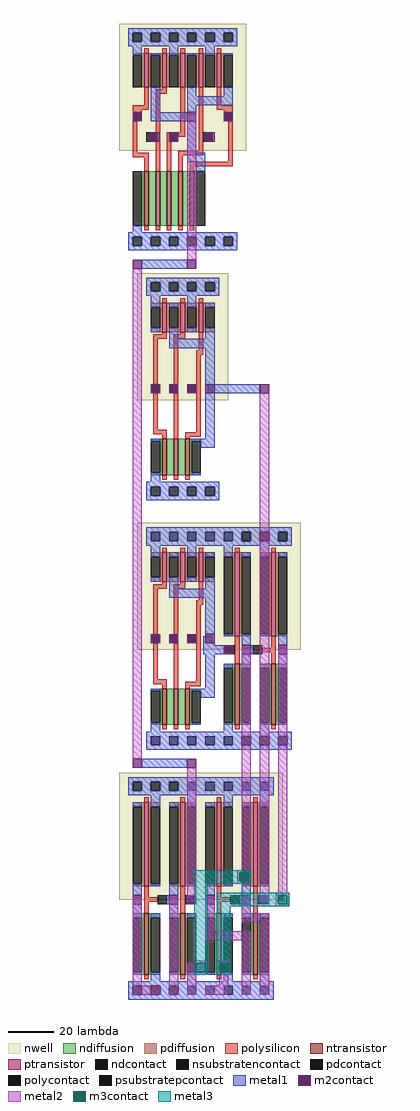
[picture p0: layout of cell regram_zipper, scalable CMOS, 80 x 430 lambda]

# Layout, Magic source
magic
tech scmos
<< metal1 >>
rect 4 318 24 322
rect 33 263 56 267
rect 6 196 46 204
rect 31 152 35 156
rect 31 148 44 152
rect 6 106 46 114
rect 4 98 24 102
rect 22 86 62 94
rect 22 -4 62 4
<< m2contact >>
rect 0 318 4 322
rect 24 318 28 322
rect 56 263 60 267
rect 0 98 4 102
rect 24 98 28 102
<< metal2 >>
rect 24 322 28 386
rect 0 102 4 318
rect 0 2 4 41
rect 0 -2 12 2
rect 16 -2 20 41
rect 24 39 28 98
rect 48 53 52 151
rect 46 52 52 53
rect 46 48 47 52
rect 51 48 52 52
rect 46 47 52 48
rect 32 26 36 41
rect 48 34 52 41
rect 56 39 60 263
rect 64 43 68 151
rect 63 42 69 43
rect 63 38 64 42
rect 68 38 69 42
rect 63 37 69 38
rect 48 30 60 34
rect 32 22 52 26
rect 27 12 33 13
rect 24 8 28 12
rect 32 8 33 12
rect 24 7 33 8
rect 37 12 43 13
rect 37 8 38 12
rect 42 8 43 12
rect 37 7 43 8
rect 24 -2 28 7
rect 38 2 42 7
rect 32 -2 42 2
rect 48 -2 52 22
rect 56 -2 60 30
<< m3contact >>
rect 47 48 51 52
rect 64 38 68 42
rect 28 8 32 12
rect 38 8 42 12
<< metal3 >>
rect 27 52 52 53
rect 27 48 47 52
rect 51 48 52 52
rect 27 47 52 48
rect 27 12 33 47
rect 27 8 28 12
rect 32 8 33 12
rect 27 7 33 8
rect 37 42 69 43
rect 37 38 64 42
rect 68 38 69 42
rect 37 37 69 38
rect 37 12 43 37
rect 37 8 38 12
rect 42 8 43 12
rect 37 7 43 8
use nand5_1x  nand5_1x_0
transform 1 0 0 0 1 330
box -6 -4 50 96
use nand3_1x  nand3_1x_0
transform 1 0 8 0 1 220
box -6 -4 34 96
use nand3_1x  nand3_1x_1
transform 1 0 8 0 1 110
box -6 -4 34 96
use invbuf_4x  invbuf_4x_0
transform 1 0 40 0 1 110
box -6 -4 34 96
use invbuf_4x  invbuf_4x_1
transform -1 0 28 0 1 0
box -6 -4 34 96
use invbuf_4x  invbuf_4x_2
transform -1 0 60 0 1 0
box -6 -4 34 96
<< end >>

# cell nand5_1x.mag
magic
tech scmos
<< nwell >>
rect -6 40 50 96
<< ntransistor >>
rect 5 7 7 31
rect 10 7 12 31
rect 15 7 17 31
rect 20 7 22 31
rect 25 7 27 31
<< ptransistor >>
rect 5 68 7 83
rect 13 68 15 83
rect 21 68 23 83
rect 29 68 31 83
rect 37 68 39 83
<< ndiffusion >>
rect 4 7 5 31
rect 7 7 10 31
rect 12 7 15 31
rect 17 7 20 31
rect 22 7 25 31
rect 27 7 28 31
<< pdiffusion >>
rect 0 82 5 83
rect 4 68 5 82
rect 7 82 13 83
rect 7 68 8 82
rect 12 68 13 82
rect 15 82 21 83
rect 15 68 16 82
rect 20 68 21 82
rect 23 82 29 83
rect 23 68 24 82
rect 28 68 29 82
rect 31 82 37 83
rect 31 68 32 82
rect 36 68 37 82
rect 39 82 44 83
rect 39 68 40 82
<< ndcontact >>
rect 0 7 4 31
rect 28 7 32 31
<< pdcontact >>
rect 0 68 4 82
rect 8 68 12 82
rect 16 68 20 82
rect 24 68 28 82
rect 32 68 36 82
rect 40 68 44 82
<< psubstratepcontact >>
rect 0 -2 4 2
rect 8 -2 12 2
rect 16 -2 20 2
rect 24 -2 28 2
rect 32 -2 36 2
rect 40 -2 44 2
<< nsubstratencontact >>
rect 0 88 4 92
rect 8 88 12 92
rect 16 88 20 92
rect 24 88 28 92
rect 32 88 36 92
rect 40 88 44 92
<< polysilicon >>
rect 5 83 7 85
rect 13 83 15 85
rect 21 83 23 85
rect 29 83 31 85
rect 37 83 39 85
rect 5 60 7 68
rect 13 67 15 68
rect 0 58 7 60
rect 10 65 15 67
rect 0 57 4 58
rect 0 39 2 53
rect 0 37 7 39
rect 5 31 7 37
rect 10 31 12 65
rect 21 48 23 68
rect 15 44 16 48
rect 20 46 23 48
rect 15 31 17 44
rect 29 40 31 68
rect 37 60 39 68
rect 37 58 44 60
rect 40 57 44 58
rect 20 38 31 40
rect 20 31 22 38
rect 42 35 44 53
rect 25 33 44 35
rect 25 31 27 33
rect 5 5 7 7
rect 10 5 12 7
rect 15 5 17 7
rect 20 5 22 7
rect 25 5 27 7
<< polycontact >>
rect 0 53 4 57
rect 6 44 10 48
rect 16 44 20 48
rect 40 53 44 57
rect 31 44 35 48
<< metal1 >>
rect -2 92 46 94
rect -2 88 0 92
rect 4 88 8 92
rect 12 88 16 92
rect 20 88 24 92
rect 28 88 32 92
rect 36 88 40 92
rect 44 88 46 92
rect -2 86 46 88
rect 0 82 4 86
rect 8 82 12 83
rect 16 82 20 86
rect 24 82 28 83
rect 32 82 36 86
rect 40 82 44 83
rect 8 57 12 68
rect 24 64 28 68
rect 40 64 44 68
rect 24 60 44 64
rect 24 57 28 60
rect 8 53 24 57
rect 24 39 28 53
rect 24 35 32 39
rect 28 31 32 35
rect 0 4 4 7
rect -2 2 46 4
rect -2 -2 0 2
rect 4 -2 8 2
rect 12 -2 16 2
rect 20 -2 24 2
rect 28 -2 32 2
rect 36 -2 40 2
rect 44 -2 46 2
rect -2 -4 46 -2
<< m2contact >>
rect 0 53 4 57
rect 24 53 28 57
rect 40 53 44 57
rect 8 44 10 48
rect 10 44 12 48
rect 16 44 20 48
rect 32 44 35 48
rect 35 44 36 48
<< labels >>
rlabel metal1 -1 0 -1 0 2 Gnd!
rlabel metal1 -1 90 -1 90 3 Vdd!
rlabel m2contact 2 55 2 55 1 a
rlabel m2contact 10 46 10 46 1 b
rlabel m2contact 18 46 18 46 1 c
rlabel m2contact 26 55 26 55 1 y
rlabel m2contact 42 55 42 55 1 e
rlabel m2contact 34 46 34 46 1 d
<< end >>

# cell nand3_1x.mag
magic
tech scmos
<< nwell >>
rect -6 40 34 96
<< ntransistor >>
rect 5 7 7 23
rect 10 7 12 23
rect 15 7 17 23
<< ptransistor >>
rect 5 70 7 83
rect 13 70 15 83
rect 21 70 23 83
<< ndiffusion >>
rect 0 22 5 23
rect 4 8 5 22
rect 0 7 5 8
rect 7 7 10 23
rect 12 7 15 23
rect 17 22 22 23
rect 17 8 18 22
rect 17 7 22 8
<< pdiffusion >>
rect 0 81 5 83
rect 4 72 5 81
rect 0 70 5 72
rect 7 81 13 83
rect 7 72 8 81
rect 12 72 13 81
rect 7 70 13 72
rect 15 81 21 83
rect 15 72 16 81
rect 20 72 21 81
rect 15 70 21 72
rect 23 81 28 83
rect 23 72 24 81
rect 23 70 28 72
<< ndcontact >>
rect 0 8 4 22
rect 18 8 22 22
<< pdcontact >>
rect 0 72 4 81
rect 8 72 12 81
rect 16 72 20 81
rect 24 72 28 81
<< psubstratepcontact >>
rect 0 -2 4 2
rect 8 -2 12 2
rect 16 -2 20 2
rect 24 -2 28 2
<< nsubstratencontact >>
rect 0 88 4 92
rect 8 88 12 92
rect 16 88 20 92
rect 24 88 28 92
<< polysilicon >>
rect 5 83 7 85
rect 13 83 15 85
rect 21 83 23 85
rect 5 69 7 70
rect 13 69 15 70
rect 1 67 7 69
rect 10 67 15 69
rect 1 47 3 67
rect 10 47 12 67
rect 21 62 23 70
rect 20 60 23 62
rect 1 27 3 43
rect 1 25 7 27
rect 5 23 7 25
rect 10 23 12 43
rect 20 26 22 60
rect 15 24 22 26
rect 15 23 17 24
rect 5 5 7 7
rect 10 5 12 7
rect 15 5 17 7
<< polycontact >>
rect 0 43 4 47
rect 8 43 12 47
rect 16 43 20 47
<< metal1 >>
rect -2 92 30 94
rect -2 88 0 92
rect 4 88 8 92
rect 12 88 16 92
rect 20 88 24 92
rect 28 88 30 92
rect -2 86 30 88
rect 0 81 4 86
rect 0 70 4 72
rect 8 81 12 83
rect 8 67 12 72
rect 16 81 20 86
rect 16 70 20 72
rect 24 81 28 83
rect 24 67 28 72
rect 8 63 28 67
rect 24 47 28 63
rect 24 23 28 43
rect 0 22 4 23
rect 0 4 4 8
rect 18 22 28 23
rect 22 19 28 22
rect 18 7 22 8
rect -2 2 30 4
rect -2 -2 0 2
rect 4 -2 8 2
rect 12 -2 16 2
rect 20 -2 24 2
rect 28 -2 30 2
rect -2 -4 30 -2
<< m2contact >>
rect 0 43 4 47
rect 8 43 12 47
rect 16 43 20 47
rect 24 43 28 47
<< labels >>
rlabel m2contact 2 45 2 45 1 a
rlabel m2contact 10 45 10 45 1 b
rlabel m2contact 18 45 18 45 1 c
rlabel m2contact 26 45 26 45 1 y
rlabel metal1 -1 90 -1 90 3 Vdd!
rlabel metal1 -1 0 -1 0 2 Gnd!
<< end >>

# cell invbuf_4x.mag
magic
tech scmos
<< nwell >>
rect -6 40 34 96
<< ntransistor >>
rect 5 7 7 34
rect 21 7 23 34
<< ptransistor >>
rect 5 46 7 83
rect 21 46 23 83
<< ndiffusion >>
rect 0 32 5 34
rect 4 8 5 32
rect 0 7 5 8
rect 7 32 12 34
rect 7 8 8 32
rect 7 7 12 8
rect 16 32 21 34
rect 20 8 21 32
rect 16 7 21 8
rect 23 32 28 34
rect 23 8 24 32
rect 23 7 28 8
<< pdiffusion >>
rect 0 81 5 83
rect 4 47 5 81
rect 0 46 5 47
rect 7 81 12 83
rect 7 47 8 81
rect 7 46 12 47
rect 16 81 21 83
rect 20 47 21 81
rect 16 46 21 47
rect 23 81 28 83
rect 23 47 24 81
rect 23 46 28 47
<< ndcontact >>
rect 0 8 4 32
rect 8 8 12 32
rect 16 8 20 32
rect 24 8 28 32
<< pdcontact >>
rect 0 47 4 81
rect 8 47 12 81
rect 16 47 20 81
rect 24 47 28 81
<< psubstratepcontact >>
rect 0 -2 4 2
rect 8 -2 12 2
rect 16 -2 20 2
rect 24 -2 28 2
<< nsubstratencontact >>
rect 0 88 4 92
rect 8 88 12 92
rect 16 88 20 92
rect 24 88 28 92
<< polysilicon >>
rect 5 83 7 85
rect 21 83 23 85
rect 5 34 7 46
rect 21 41 23 46
rect 17 39 23 41
rect 21 34 23 39
rect 5 5 7 7
rect 21 5 23 7
<< polycontact >>
rect 1 38 5 42
rect 13 38 17 42
<< metal1 >>
rect -2 92 30 94
rect -2 88 0 92
rect 4 88 8 92
rect 12 88 16 92
rect 20 88 24 92
rect 28 88 30 92
rect -2 86 30 88
rect 0 81 4 86
rect 0 46 4 47
rect 8 81 12 83
rect 8 42 12 47
rect 16 81 20 86
rect 16 46 20 47
rect 24 81 28 83
rect 24 42 28 47
rect 12 38 13 42
rect 0 32 4 34
rect 0 4 4 8
rect 8 32 12 38
rect 8 7 12 8
rect 16 32 20 34
rect 16 4 20 8
rect 24 32 28 38
rect 24 7 28 8
rect -2 2 30 4
rect -2 -2 0 2
rect 4 -2 8 2
rect 12 -2 16 2
rect 20 -2 24 2
rect 28 -2 30 2
rect -2 -4 30 -2
<< m2contact >>
rect 0 38 1 42
rect 1 38 4 42
rect 8 38 12 42
rect 24 38 28 42
<< labels >>
rlabel m2contact 1 40 1 40 1 s
rlabel m2contact 10 40 10 40 1 sb_out
rlabel m2contact 26 40 26 40 1 s_out
rlabel metal1 -1 0 -1 0 3 Gnd!
rlabel metal1 -1 90 -1 90 3 Vdd!
<< end >>
